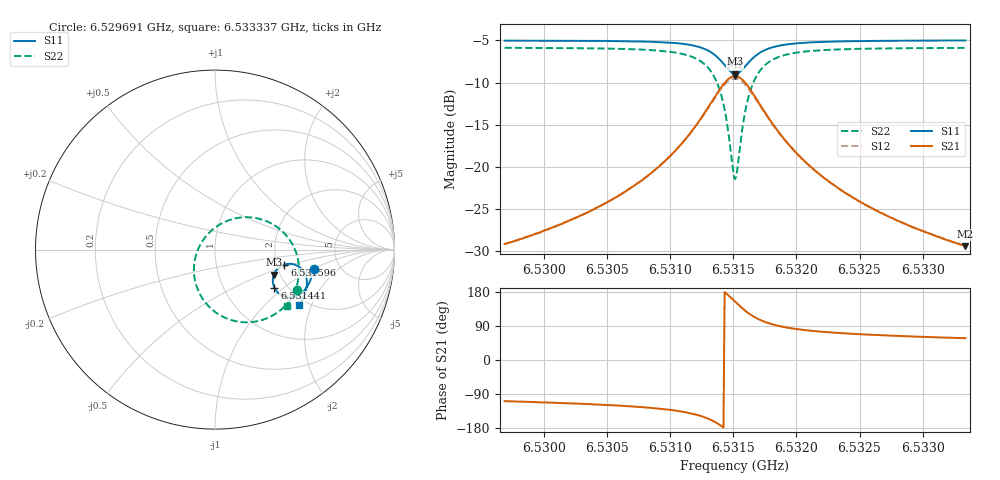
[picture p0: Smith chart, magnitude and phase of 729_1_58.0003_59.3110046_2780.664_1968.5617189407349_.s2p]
#  HZ  S  RI  R  50.00
! Rohde & Schwarz Vector Network Analyzer
! Rohde-Schwarz,ZNB20-2Port,1311601062101988,3.16
! Created: UTC 3/21/2024, 1:23:00 AM
! freq[Hz]  re:S11  im:S11  re:S21  im:S21  re:S12  im:S12  re:S22  im:S22
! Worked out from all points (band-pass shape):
!   401 points, 6.529691 GHz to 6.533337 GHz, reference 50 ohm
!   highest |S21| = -9.24 dB at 6.531514 GHz (marker M1); lowest = -29.4 dB at 6.533337 GHz (marker M2)
!   |S21| within 3 dB of the highest: 6.531332 GHz to 6.531696 GHz (364.8 kHz wide, 0.00558 % of centre)
!   lowest |S11| = -9.0 dB at 6.531514 GHz (marker M3), VSWR 2.11, Z = 92.6 - j29.6 ohm
!   |S11| at or under -10 dB: nowhere
!   |S22| runs from -21.4 to -5.9 dB; largest |S21 - S12| = 0.015
!   S11 on the Smith chart (normalised r, x): 6.529691 GHz: 3.21, -0.99; 6.531441 GHz: 1.71, -0.87; 6.531596 GHz: 2.20, -0.44; 6.533337 GHz: 1.81, -1.64
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6.5296913e9  0.55 -0.106  -0.0112 -0.0332  -0.0119 -0.0329  0.4559 -0.2242
6.5303021e9  0.5362 -0.1579  -0.0226 -0.0468  -0.0237 -0.0463  0.4188 -0.2822
6.5306393e9  0.5224 -0.1906  -0.0369 -0.0607  -0.0385 -0.0597  0.3814 -0.3232
6.5309128e9  0.5027 -0.2218  -0.0623 -0.0789  -0.0648 -0.0771  0.3241 -0.3654
6.5311224e9  0.4717 -0.25  -0.1084 -0.0981  -0.1114 -0.094  0.2323 -0.3997
6.5312865e9  0.4179 -0.266  -0.1922 -0.0991  -0.1939 -0.0904  0.0812 -0.3895
6.5313777e9  0.3669 -0.2521  -0.2703 -0.0585  -0.2673 -0.0465  -0.0452 -0.3048
6.5314141e9  0.345 -0.2337  -0.302 -0.0206  -0.2954 -0.00854  -0.0904 -0.2349
6.5314415e9  0.3314 -0.2133  -0.32 0.0183  -0.3105 0.0293  -0.1125 -0.1667
6.5314961e9  0.3229 -0.1589  -0.3232 0.1159  -0.3095 0.1211  -0.0979 -0.00687
6.5315144e9  0.3277 -0.1398  -0.3113 0.1488  -0.2974 0.1515  -0.0722 0.0443
6.5315326e9  0.3365 -0.1223  -0.2932 0.1788  -0.2796 0.179  -0.0371 0.0893
6.5315691e9  0.3627 -0.0951  -0.2434 0.2236  -0.2324 0.2203  0.0521 0.1534
6.5315964e9  0.3862 -0.0837  -0.201 0.2421  -0.1925 0.2375  0.1246 0.176
6.5316329e9  0.4168 -0.0793  -0.1476 0.249  -0.142 0.244  0.2142 0.1779
6.5316693e9  0.4426 -0.0833  -0.1032 0.242  -0.0994 0.2376  0.2874 0.158
6.5317787e9  0.4889 -0.1147  -0.0249 0.1942  -0.0233 0.1924  0.412 0.0598
6.5319063e9  0.5077 -0.1507  0.0085 0.145  0.00963 0.1444  0.4583 -0.0371
6.5321251e9  0.5119 -0.1936  0.0224 0.0959  0.0236 0.0954  0.4676 -0.1372
6.5323803e9  0.5062 -0.2271  0.0239 0.0666  0.0249 0.0664  0.4554 -0.2021
6.5327358e9  0.4935 -0.262  0.0219 0.0457  0.0227 0.0454  0.4339 -0.2563
6.5333374e9  0.4689 -0.3087  0.0182 0.0287  0.019 0.0284  0.3987 -0.3136
